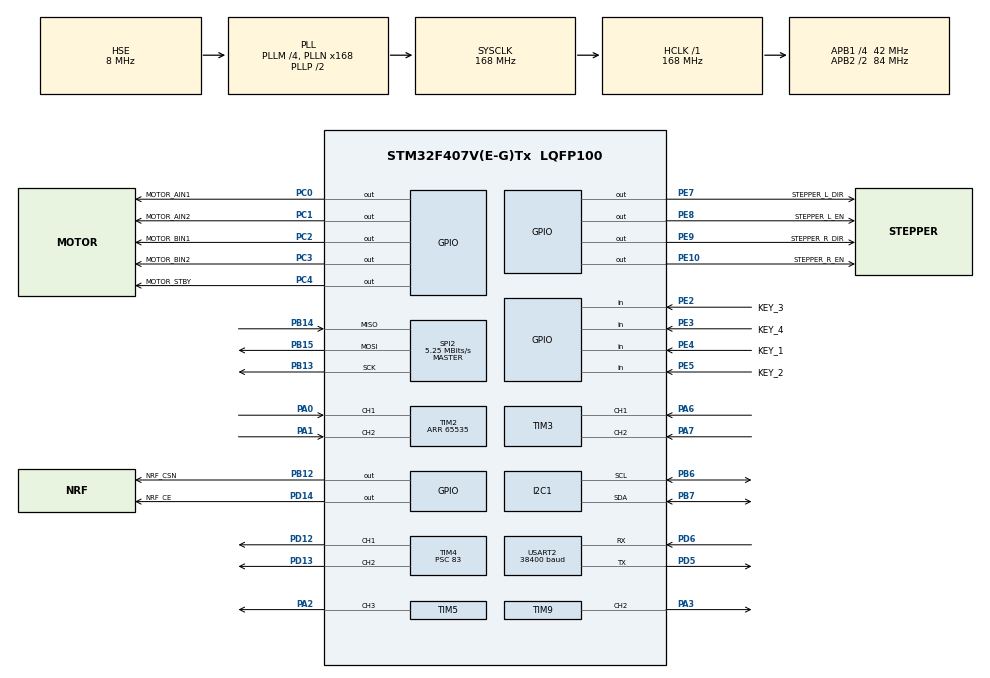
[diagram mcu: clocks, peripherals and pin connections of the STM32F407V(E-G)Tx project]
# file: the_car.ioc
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Dma.Request0=USART2_TX
Dma.Request1=USART2_RX
Dma.USART2_RX.1.Direction=DMA_PERIPH_TO_MEMORY
Dma.USART2_RX.1.FIFOMode=DMA_FIFOMODE_DISABLE
Dma.USART2_RX.1.Instance=DMA1_Stream5
Dma.USART2_RX.1.MemDataAlignment=DMA_MDATAALIGN_BYTE
Dma.USART2_RX.1.MemInc=DMA_MINC_ENABLE
Dma.USART2_RX.1.Mode=DMA_CIRCULAR
Dma.USART2_RX.1.PeriphDataAlignment=DMA_PDATAALIGN_BYTE
Dma.USART2_RX.1.PeriphInc=DMA_PINC_DISABLE
Dma.USART2_RX.1.Priority=DMA_PRIORITY_LOW
Dma.USART2_TX.0.Direction=DMA_MEMORY_TO_PERIPH
Dma.USART2_TX.0.FIFOMode=DMA_FIFOMODE_DISABLE
Dma.USART2_TX.0.Instance=DMA1_Stream6
Dma.USART2_TX.0.MemDataAlignment=DMA_MDATAALIGN_BYTE
Dma.USART2_TX.0.MemInc=DMA_MINC_ENABLE
Dma.USART2_TX.0.Mode=DMA_NORMAL
Dma.USART2_TX.0.PeriphDataAlignment=DMA_PDATAALIGN_BYTE
Dma.USART2_TX.0.PeriphInc=DMA_PINC_DISABLE
Dma.USART2_TX.0.Priority=DMA_PRIORITY_LOW
FREERTOS.Tasks01=defaultTask,24,128,StartDefaultTask,Default,NULL,Dynamic,NULL,NULL
I2C1.I2C_Mode=I2C_Fast
Mcu.Family=STM32F4
Mcu.Name=STM32F407V(E-G)Tx
Mcu.Package=LQFP100
NVIC.DMA1_Stream5_IRQn=true\:5\:0\:false\:false\:true\:true\:false\:true\:true
NVIC.DMA1_Stream6_IRQn=true\:5\:0\:false\:false\:true\:true\:false\:true\:true
NVIC.PriorityGroup=NVIC_PRIORITYGROUP_4
NVIC.TIM1_UP_TIM10_IRQn=true\:15\:0\:false\:false\:true\:false\:false\:true\:true
NVIC.TIM6_DAC_IRQn=true\:5\:0\:false\:false\:true\:true\:true\:true\:true
NVIC.TimeBase=TIM1_UP_TIM10_IRQn
NVIC.TimeBaseIP=TIM10
NVIC.USART2_IRQn=true\:5\:0\:false\:false\:true\:true\:true\:true\:true
PA0-WKUP.Signal=S_TIM2_CH1_ETR
PA1.Signal=S_TIM2_CH2
PA13.Mode=Serial_Wire
PA13.Signal=SYS_JTMS-SWDIO
PA14.Mode=Serial_Wire
PA14.Signal=SYS_JTCK-SWCLK
PA2.Signal=S_TIM5_CH3
PA3.Signal=S_TIM9_CH2
PA6.Signal=S_TIM3_CH1
PA7.Signal=S_TIM3_CH2
PB12.GPIO_Label=NRF_CSN
PB12.PinState=GPIO_PIN_SET
PB12.Signal=GPIO_Output
PB13.Mode=Full_Duplex_Master
PB13.Signal=SPI2_SCK
PB14.Mode=Full_Duplex_Master
PB14.Signal=SPI2_MISO
PB15.Mode=Full_Duplex_Master
PB15.Signal=SPI2_MOSI
PB6.Mode=I2C
PB6.Signal=I2C1_SCL
PB7.Mode=I2C
PB7.Signal=I2C1_SDA
PC0.GPIO_Label=MOTOR_AIN1
PC0.Signal=GPIO_Output
PC1.GPIO_Label=MOTOR_AIN2
PC1.Signal=GPIO_Output
PC14-OSC32_IN.Mode=LSE-External-Oscillator
PC14-OSC32_IN.Signal=RCC_OSC32_IN
PC15-OSC32_OUT.Mode=LSE-External-Oscillator
PC15-OSC32_OUT.Signal=RCC_OSC32_OUT
PC2.GPIO_Label=MOTOR_BIN1
PC2.Signal=GPIO_Output
PC3.GPIO_Label=MOTOR_BIN2
PC3.Signal=GPIO_Output
PC4.GPIO_Label=MOTOR_STBY
PC4.Signal=GPIO_Output
PD12.Signal=S_TIM4_CH1
PD13.Signal=S_TIM4_CH2
PD14.GPIO_Label=NRF_CE
PD14.Signal=GPIO_Output
PD5.Mode=Asynchronous
PD5.Signal=USART2_TX
PD6.Mode=Asynchronous
PD6.Signal=USART2_RX
PE10.GPIO_Label=STEPPER_R_EN
PE10.Signal=GPIO_Output
PE2.GPIO_Label=KEY_3
PE2.GPIO_PuPd=GPIO_PULLUP
PE2.Signal=GPIO_Input
PE3.GPIO_Label=KEY_4
PE3.GPIO_PuPd=GPIO_PULLUP
PE3.Signal=GPIO_Input
PE4.GPIO_Label=KEY_1
PE4.GPIO_PuPd=GPIO_PULLUP
PE4.Signal=GPIO_Input
PE5.GPIO_Label=KEY_2
PE5.GPIO_PuPd=GPIO_PULLUP
PE5.Signal=GPIO_Input
PE7.GPIO_Label=STEPPER_L_DIR 
PE7.Signal=GPIO_Output
PE8.GPIO_Label=STEPPER_L_EN
PE8.Signal=GPIO_Output
PE9.GPIO_Label=STEPPER_R_DIR 
PE9.Signal=GPIO_Output
PH0-OSC_IN.Mode=HSE-External-Oscillator
PH0-OSC_IN.Signal=RCC_OSC_IN
PH1-OSC_OUT.Mode=HSE-External-Oscillator
PH1-OSC_OUT.Signal=RCC_OSC_OUT
ProjectManager.HeapSize=0x200
ProjectManager.StackSize=0x400
ProjectManager.TargetToolchain=MDK-ARM V5.32
RCC.48MHZClocksFreq_Value=48000000
RCC.AHBFreq_Value=168000000
RCC.APB1CLKDivider=RCC_HCLK_DIV4
RCC.APB1Freq_Value=42000000
RCC.APB1TimFreq_Value=84000000
RCC.APB2CLKDivider=RCC_HCLK_DIV2
RCC.APB2Freq_Value=84000000
RCC.APB2TimFreq_Value=168000000
RCC.CortexFreq_Value=168000000
RCC.HCLKFreq_Value=168000000
RCC.HSE_VALUE=8000000
RCC.HSI_VALUE=16000000
RCC.PLLM=4
RCC.PLLN=168
RCC.PLLQ=7
RCC.PLLSourceVirtual=RCC_PLLSOURCE_HSE
RCC.SYSCLKFreq_VALUE=168000000
RCC.SYSCLKSource=RCC_SYSCLKSOURCE_PLLCLK
RCC.VCOOutputFreq_Value=336000000
SH.S_TIM2_CH1_ETR.0=TIM2_CH1,Encoder_Interface
SH.S_TIM2_CH2.0=TIM2_CH2,Encoder_Interface
SH.S_TIM3_CH1.0=TIM3_CH1,Encoder_Interface
SH.S_TIM3_CH2.0=TIM3_CH2,Encoder_Interface
SH.S_TIM4_CH1.0=TIM4_CH1,PWM Generation1 CH1
SH.S_TIM4_CH2.0=TIM4_CH2,PWM Generation2 CH2
SH.S_TIM5_CH3.0=TIM5_CH3,PWM Generation3 CH3
SH.S_TIM9_CH2.0=TIM9_CH2,PWM Generation2 CH2
SPI2.BaudRatePrescaler=SPI_BAUDRATEPRESCALER_8
SPI2.CalculateBaudRate=5.25 MBits/s
SPI2.Direction=SPI_DIRECTION_2LINES
SPI2.Mode=SPI_MODE_MASTER
SPI2.VirtualType=VM_MASTER
TIM2.EncoderMode=TIM_ENCODERMODE_TI12
TIM2.IC1Filter=6
TIM2.IC2Filter=6
TIM2.Period=65535
TIM3.AutoReloadPreload=TIM_AUTORELOAD_PRELOAD_DISABLE
TIM3.EncoderMode=TIM_ENCODERMODE_TI12
TIM3.IC1Filter=6
TIM3.IC2Filter=6
TIM4.Channel-PWM\ Generation1\ CH1=TIM_CHANNEL_1
TIM4.Channel-PWM\ Generation2\ CH2=TIM_CHANNEL_2
TIM4.Period=999
TIM4.Prescaler=83
TIM5.AutoReloadPreload=TIM_AUTORELOAD_PRELOAD_ENABLE
TIM5.Channel-PWM\ Generation3\ CH3=TIM_CHANNEL_3
TIM5.Period=999
TIM5.Prescaler=83
TIM5.Pulse-PWM\ Generation3\ CH3=500
TIM6.AutoReloadPreload=TIM_AUTORELOAD_PRELOAD_ENABLE
TIM6.Period=999
TIM6.Prescaler=167
TIM9.AutoReloadPreload=TIM_AUTORELOAD_PRELOAD_ENABLE
TIM9.Channel-PWM\ Generation2\ CH2=TIM_CHANNEL_2
TIM9.Period=999
TIM9.Prescaler=83
TIM9.Pulse-PWM\ Generation2\ CH2=500
USART2.BaudRate=38400
USART2.VirtualMode=VM_ASYNC
VP_FREERTOS_VS_CMSIS_V2.Mode=CMSIS_V2
VP_SYS_VS_tim10.Mode=TIM10
VP_TIM6_VS_ClockSourceINT.Mode=Enable_Timer
board=custom

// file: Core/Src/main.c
/* USER CODE BEGIN Header */
/**
  ******************************************************************************
  * @file           : main.c
  * @brief          : Main program body
  ******************************************************************************
  */
/* USER CODE END Header */
#include "main.h"
#include "cmsis_os.h"
#include "dma.h"
#include "i2c.h"
#include "spi.h"
#include "tim.h"
#include "usart.h"
#include "gpio.h"

/* USER CODE BEGIN Includes */
#include "OLED.h" // ???????? main ?��???????
#include "Serial.h"
/* USER CODE END Includes */

void SystemClock_Config(void);
void MX_FREERTOS_Init(void);

int main(void)
{

  /* MCU Configuration--------------------------------------------------------*/

  /* Reset of all peripherals, Initializes the Flash interface and the Systick. */
  HAL_Init();

  /* Configure the system clock */
  SystemClock_Config();

  /* Initialize all configured peripherals */
  MX_GPIO_Init();
  MX_DMA_Init();
  MX_USART2_UART_Init();
  MX_I2C1_Init();
  MX_TIM6_Init();
  MX_TIM2_Init();
  MX_TIM3_Init();
  MX_TIM4_Init();
  MX_TIM5_Init();
  MX_TIM9_Init();
  MX_SPI2_Init();

  /* Init scheduler */
  osKernelInitialize();  /* Call init function for freertos objects (in cmsis_os2.c) */
  MX_FREERTOS_Init();

  /* Start scheduler */
  osKernelStart();

  /* We should never get here as control is now taken by the scheduler */

  /* Infinite loop */
  while (1)
  {

  }
}

void SystemClock_Config(void)
{
  RCC_OscInitTypeDef RCC_OscInitStruct = {0};
  RCC_ClkInitTypeDef RCC_ClkInitStruct = {0};

  /** Configure the main internal regulator output voltage
  */
  __HAL_RCC_PWR_CLK_ENABLE();
  __HAL_PWR_VOLTAGESCALING_CONFIG(PWR_REGULATOR_VOLTAGE_SCALE1);

  /** Initializes the RCC Oscillators according to the specified parameters
  * in the RCC_OscInitTypeDef structure.
  */
  RCC_OscInitStruct.OscillatorType = RCC_OSCILLATORTYPE_HSE;
  RCC_OscInitStruct.HSEState = RCC_HSE_ON;
  RCC_OscInitStruct.PLL.PLLState = RCC_PLL_ON;
  RCC_OscInitStruct.PLL.PLLSource = RCC_PLLSOURCE_HSE;
  RCC_OscInitStruct.PLL.PLLM = 4;
  RCC_OscInitStruct.PLL.PLLN = 168;
  RCC_OscInitStruct.PLL.PLLP = RCC_PLLP_DIV2;
  RCC_OscInitStruct.PLL.PLLQ = 7;
  if (HAL_RCC_OscConfig(&RCC_OscInitStruct) != HAL_OK)
  {
    Error_Handler();
  }

  /** Initializes the CPU, AHB and APB buses clocks
  */
  RCC_ClkInitStruct.ClockType = RCC_CLOCKTYPE_HCLK|RCC_CLOCKTYPE_SYSCLK
                              |RCC_CLOCKTYPE_PCLK1|RCC_CLOCKTYPE_PCLK2;
  RCC_ClkInitStruct.SYSCLKSource = RCC_SYSCLKSOURCE_PLLCLK;
  RCC_ClkInitStruct.AHBCLKDivider = RCC_SYSCLK_DIV1;
  RCC_ClkInitStruct.APB1CLKDivider = RCC_HCLK_DIV4;
  RCC_ClkInitStruct.APB2CLKDivider = RCC_HCLK_DIV2;

  if (HAL_RCC_ClockConfig(&RCC_ClkInitStruct, FLASH_LATENCY_5) != HAL_OK)
  {
    Error_Handler();
  }
}

/* USER CODE BEGIN 4 */

void HAL_UARTEx_RxEventCallback(UART_HandleTypeDef *huart, uint16_t Size)
{
  if (huart->Instance == USART2)
  {
    Serial2_DMA_RxEvent(Size);
  }
}

/* USER CODE END 4 */

void HAL_TIM_PeriodElapsedCallback(TIM_HandleTypeDef *htim)
{
  if (htim->Instance == TIM10)
  {
    HAL_IncTick();
  }
}

void Error_Handler(void)
{
  __disable_irq();
  while (1)
  {
  }
}

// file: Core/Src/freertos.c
/* USER CODE BEGIN Header */
#include "OLED.h"
/**
  ******************************************************************************
  * File Name          : freertos.c
  * Description        : Code for freertos applications
  ******************************************************************************
  */
/* USER CODE END Header */

#include "FreeRTOS.h"
#include "task.h"
#include "main.h"
#include "cmsis_os.h"

/* USER CODE BEGIN Includes */
#include "key_task.h"
#include "motor_task.h"
#include "nrf_task.h"
#include "oled_task.h"
#include "serial_task.h"
#include "stepper_task.h"
/* USER CODE END Includes */

/* Definitions for defaultTask */
osThreadId_t defaultTaskHandle;
const osThreadAttr_t defaultTask_attributes = {
  .name = "defaultTask",
  .stack_size = 128 * 4,
  .priority = (osPriority_t) osPriorityNormal,
};

void StartDefaultTask(void *argument);

void MX_FREERTOS_Init(void); /* (MISRA C 2004 rule 8.1) */

void MX_FREERTOS_Init(void) {
  /* USER CODE BEGIN Init */
  OLED_Init();
  OLED_ShowString(1, 1, "OS Loading...", OLED_6X8);
  OLED_Update();
  /* ?????????? */
  /* DCMotor_Init(); */
  /* DCMotor_SetDuty(0, 0); */
  /* USER CODE END Init */

  /* Create the thread(s) */
  /* creation of defaultTask */
  defaultTaskHandle = osThreadNew(StartDefaultTask, NULL, &defaultTask_attributes);

  /* USER CODE BEGIN RTOS_THREADS */
  Motor_Task_Init();
  OLED_Task_Init();
  Key_Task_Init();
  Stepper_Task_Init();
  Nrf_Task_Init();
  Serial_Task_Init();
  /* USER CODE END RTOS_THREADS */

}

void StartDefaultTask(void *argument)
{
  /* USER CODE BEGIN StartDefaultTask */
  (void)argument;
  while (1)
  {
    osDelay(1000);
  }
  /* USER CODE END StartDefaultTask */
}

/* USER CODE BEGIN Application */
/* Task implementations moved to MDK-ARM/icode/task modules. */
/* USER CODE END Application */
